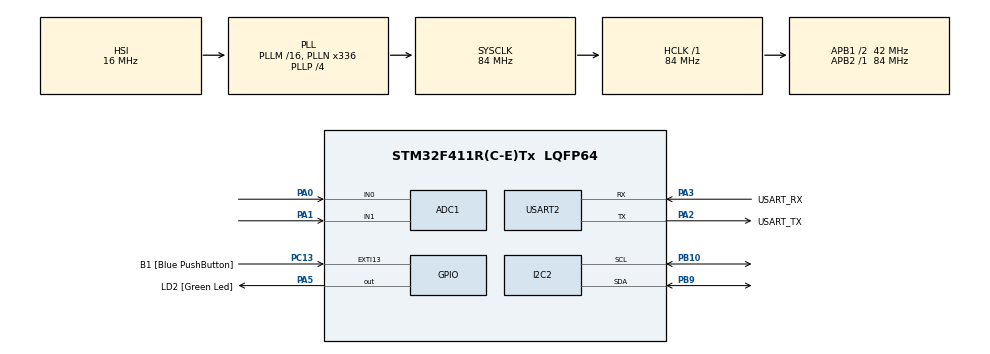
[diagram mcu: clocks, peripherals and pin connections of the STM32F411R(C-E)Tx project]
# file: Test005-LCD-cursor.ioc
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ADC1.Channel-0\#ChannelRegularConversion=ADC_CHANNEL_0
ADC1.Channel-1\#ChannelRegularConversion=ADC_CHANNEL_1
ADC1.ContinuousConvMode=DISABLE
ADC1.DMAContinuousRequests=ENABLE
ADC1.DiscontinuousConvMode=ENABLE
ADC1.EOCSelection=ADC_EOC_SINGLE_CONV
ADC1.ExternalTrigConv=ADC_EXTERNALTRIGCONV_T3_TRGO
ADC1.NbrOfConversion=2
ADC1.NbrOfConversionFlag=1
ADC1.Rank-0\#ChannelRegularConversion=1
ADC1.Rank-1\#ChannelRegularConversion=2
ADC1.SamplingTime-0\#ChannelRegularConversion=ADC_SAMPLETIME_3CYCLES
ADC1.SamplingTime-1\#ChannelRegularConversion=ADC_SAMPLETIME_3CYCLES
ADC1.ScanConvMode=ENABLE
ADC1.master=1
Dma.ADC1.0.Direction=DMA_PERIPH_TO_MEMORY
Dma.ADC1.0.FIFOMode=DMA_FIFOMODE_DISABLE
Dma.ADC1.0.Instance=DMA2_Stream0
Dma.ADC1.0.MemDataAlignment=DMA_MDATAALIGN_WORD
Dma.ADC1.0.MemInc=DMA_MINC_ENABLE
Dma.ADC1.0.Mode=DMA_CIRCULAR
Dma.ADC1.0.PeriphDataAlignment=DMA_PDATAALIGN_WORD
Dma.ADC1.0.PeriphInc=DMA_PINC_DISABLE
Dma.ADC1.0.Priority=DMA_PRIORITY_LOW
Dma.Request0=ADC1
Mcu.Family=STM32F4
Mcu.Name=STM32F411R(C-E)Tx
Mcu.Package=LQFP64
NVIC.DMA2_Stream0_IRQn=true\:0\:0\:false\:false\:true\:false\:true\:true
NVIC.PriorityGroup=NVIC_PRIORITYGROUP_0
PA0-WKUP.Signal=ADCx_IN0
PA1.Signal=ADCx_IN1
PA13.GPIO_Label=TMS
PA13.Mode=Serial_Wire
PA13.Signal=SYS_JTMS-SWDIO
PA14.GPIO_Label=TCK
PA14.Mode=Serial_Wire
PA14.Signal=SYS_JTCK-SWCLK
PA2.GPIO_Label=USART_TX
PA2.Mode=Asynchronous
PA2.Signal=USART2_TX
PA3.GPIO_Label=USART_RX
PA3.Mode=Asynchronous
PA3.Signal=USART2_RX
PA5.GPIO_Label=LD2 [Green Led]
PA5.Signal=GPIO_Output
PB10.Mode=I2C
PB10.Signal=I2C2_SCL
PB3.GPIO_Label=SWO
PB3.Signal=SYS_JTDO-SWO
PB9.Mode=I2C
PB9.Signal=I2C2_SDA
PC13-ANTI_TAMP.GPIO_Label=B1 [Blue PushButton]
PC13-ANTI_TAMP.GPIO_ModeDefaultEXTI=GPIO_MODE_IT_FALLING
PC13-ANTI_TAMP.Signal=GPXTI13
PC14-OSC32_IN.Mode=LSE-External-Oscillator
PC14-OSC32_IN.Signal=RCC_OSC32_IN
PC15-OSC32_OUT.Mode=LSE-External-Oscillator
PC15-OSC32_OUT.Signal=RCC_OSC32_OUT
PH0\ -\ OSC_IN.Mode=HSE-External-Clock-Source
PH0\ -\ OSC_IN.Signal=RCC_OSC_IN
PH1\ -\ OSC_OUT.Mode=HSE-External-Clock-Source
PH1\ -\ OSC_OUT.Signal=RCC_OSC_OUT
ProjectManager.HeapSize=0x200
ProjectManager.StackSize=0x400
ProjectManager.TargetToolchain=STM32CubeIDE
RCC.48MHZClocksFreq_Value=84000000
RCC.AHBFreq_Value=84000000
RCC.APB1CLKDivider=RCC_HCLK_DIV2
RCC.APB1Freq_Value=42000000
RCC.APB1TimFreq_Value=84000000
RCC.APB2Freq_Value=84000000
RCC.APB2TimFreq_Value=84000000
RCC.CortexFreq_Value=84000000
RCC.FLatency-AdvancedSettings=FLASH_LATENCY_2
RCC.HCLKFreq_Value=84000000
RCC.HSE_VALUE=8000000
RCC.HSI_VALUE=16000000
RCC.PLLN=336
RCC.PLLP=RCC_PLLP_DIV4
RCC.SYSCLKFreq_VALUE=84000000
RCC.SYSCLKSource=RCC_SYSCLKSOURCE_PLLCLK
RCC.VCOOutputFreq_Value=336000000
SH.ADCx_IN0.0=ADC1_IN0,IN0
SH.ADCx_IN1.0=ADC1_IN1,IN1
TIM3.Period=1000-1
TIM3.Prescaler=8400-1
TIM3.TIM_MasterOutputTrigger=TIM_TRGO_UPDATE
USART2.VirtualMode=VM_ASYNC
VP_TIM3_VS_ClockSourceINT.Mode=Internal
board=NUCLEO-F411RE

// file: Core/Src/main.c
/* USER CODE BEGIN Header */
/**
  ******************************************************************************
  * @file           : main.c
  * @brief          : Main program body
  ******************************************************************************
  * @attention
  *
  * Copyright (c) 2024 STMicroelectronics.
  * All rights reserved.
  *
  * This software is licensed under terms that can be found in the LICENSE file
  * in the root directory of this software component.
  * If no LICENSE file comes with this software, it is provided AS-IS.
  *
  ******************************************************************************
  */
/* USER CODE END Header */
#include "main.h"

ADC_HandleTypeDef hadc1;
DMA_HandleTypeDef hdma_adc1;

I2C_HandleTypeDef hi2c2;

TIM_HandleTypeDef htim3;

UART_HandleTypeDef huart2;

void SystemClock_Config(void);
static void MX_GPIO_Init(void);
static void MX_DMA_Init(void);
static void MX_USART2_UART_Init(void);
static void MX_I2C2_Init(void);
static void MX_ADC1_Init(void);
static void MX_TIM3_Init(void);

/* USER CODE BEGIN 0 */
int val[2]; // val[0]:x val[1]:y
volatile char* arr1;
volatile char* arr2;
/* USER CODE END 0 */

int main(void)
{

  /* MCU Configuration--------------------------------------------------------*/

  /* Reset of all peripherals, Initializes the Flash interface and the Systick. */
  HAL_Init();

  /* Configure the system clock */
  SystemClock_Config();

  /* Initialize all configured peripherals */
  MX_GPIO_Init();
  MX_DMA_Init();
  MX_USART2_UART_Init();
  MX_I2C2_Init();
  MX_ADC1_Init();
  MX_TIM3_Init();
  /* USER CODE BEGIN 2 */
  ProgramStart("LCD (1602)-cursor");
  I2C_scan();
  lcd_init();
  HAL_ADC_Start_DMA(&hadc1,val, 2);
  HAL_TIM_Base_Start(&htim3);
  char buffer1[5];
  char buffer2[5];

  /* USER CODE END 2 */

  /* Infinite loop */
  /* USER CODE BEGIN WHILE */
  while (1)
  {

      num2char4(val[0], buffer1);
      HAL_Delay(10);

      num2char4(val[1], buffer2);
      HAL_Delay(10);

      lcd_printEx(buffer1, 0);
      HAL_Delay(30);
      lcd_printEx(buffer2, 1);
      HAL_Delay(30);

      printf("ADC1: %s, ADC2: %s\r\n", buffer1, buffer2);
    /* USER CODE END WHILE */

  }
}

void SystemClock_Config(void)
{
  RCC_OscInitTypeDef RCC_OscInitStruct = {0};
  RCC_ClkInitTypeDef RCC_ClkInitStruct = {0};

  /** Configure the main internal regulator output voltage
  */
  __HAL_RCC_PWR_CLK_ENABLE();
  __HAL_PWR_VOLTAGESCALING_CONFIG(PWR_REGULATOR_VOLTAGE_SCALE1);

  /** Initializes the RCC Oscillators according to the specified parameters
  * in the RCC_OscInitTypeDef structure.
  */
  RCC_OscInitStruct.OscillatorType = RCC_OSCILLATORTYPE_HSI;
  RCC_OscInitStruct.HSIState = RCC_HSI_ON;
  RCC_OscInitStruct.HSICalibrationValue = RCC_HSICALIBRATION_DEFAULT;
  RCC_OscInitStruct.PLL.PLLState = RCC_PLL_ON;
  RCC_OscInitStruct.PLL.PLLSource = RCC_PLLSOURCE_HSI;
  RCC_OscInitStruct.PLL.PLLM = 16;
  RCC_OscInitStruct.PLL.PLLN = 336;
  RCC_OscInitStruct.PLL.PLLP = RCC_PLLP_DIV4;
  RCC_OscInitStruct.PLL.PLLQ = 4;
  if (HAL_RCC_OscConfig(&RCC_OscInitStruct) != HAL_OK)
  {
    Error_Handler();
  }

  /** Initializes the CPU, AHB and APB buses clocks
  */
  RCC_ClkInitStruct.ClockType = RCC_CLOCKTYPE_HCLK|RCC_CLOCKTYPE_SYSCLK
                              |RCC_CLOCKTYPE_PCLK1|RCC_CLOCKTYPE_PCLK2;
  RCC_ClkInitStruct.SYSCLKSource = RCC_SYSCLKSOURCE_PLLCLK;
  RCC_ClkInitStruct.AHBCLKDivider = RCC_SYSCLK_DIV1;
  RCC_ClkInitStruct.APB1CLKDivider = RCC_HCLK_DIV2;
  RCC_ClkInitStruct.APB2CLKDivider = RCC_HCLK_DIV1;

  if (HAL_RCC_ClockConfig(&RCC_ClkInitStruct, FLASH_LATENCY_2) != HAL_OK)
  {
    Error_Handler();
  }
}

static void MX_ADC1_Init(void)
{

  ADC_ChannelConfTypeDef sConfig = {0};

  /** Configure the global features of the ADC (Clock, Resolution, Data Alignment and number of conversion)
  */
  hadc1.Instance = ADC1;
  hadc1.Init.ClockPrescaler = ADC_CLOCK_SYNC_PCLK_DIV4;
  hadc1.Init.Resolution = ADC_RESOLUTION_12B;
  hadc1.Init.ScanConvMode = ENABLE;
  hadc1.Init.ContinuousConvMode = DISABLE;
  hadc1.Init.DiscontinuousConvMode = ENABLE;
  hadc1.Init.NbrOfDiscConversion = 1;
  hadc1.Init.ExternalTrigConvEdge = ADC_EXTERNALTRIGCONVEDGE_RISING;
  hadc1.Init.ExternalTrigConv = ADC_EXTERNALTRIGCONV_T3_TRGO;
  hadc1.Init.DataAlign = ADC_DATAALIGN_RIGHT;
  hadc1.Init.NbrOfConversion = 2;
  hadc1.Init.DMAContinuousRequests = ENABLE;
  hadc1.Init.EOCSelection = ADC_EOC_SINGLE_CONV;
  if (HAL_ADC_Init(&hadc1) != HAL_OK)
  {
    Error_Handler();
  }

  /** Configure for the selected ADC regular channel its corresponding rank in the sequencer and its sample time.
  */
  sConfig.Channel = ADC_CHANNEL_0;
  sConfig.Rank = 1;
  sConfig.SamplingTime = ADC_SAMPLETIME_3CYCLES;
  if (HAL_ADC_ConfigChannel(&hadc1, &sConfig) != HAL_OK)
  {
    Error_Handler();
  }

  /** Configure for the selected ADC regular channel its corresponding rank in the sequencer and its sample time.
  */
  sConfig.Channel = ADC_CHANNEL_1;
  sConfig.Rank = 2;
  if (HAL_ADC_ConfigChannel(&hadc1, &sConfig) != HAL_OK)
  {
    Error_Handler();
  }

}

static void MX_I2C2_Init(void)
{

  hi2c2.Instance = I2C2;
  hi2c2.Init.ClockSpeed = 100000;
  hi2c2.Init.DutyCycle = I2C_DUTYCYCLE_2;
  hi2c2.Init.OwnAddress1 = 0;
  hi2c2.Init.AddressingMode = I2C_ADDRESSINGMODE_7BIT;
  hi2c2.Init.DualAddressMode = I2C_DUALADDRESS_DISABLE;
  hi2c2.Init.OwnAddress2 = 0;
  hi2c2.Init.GeneralCallMode = I2C_GENERALCALL_DISABLE;
  hi2c2.Init.NoStretchMode = I2C_NOSTRETCH_DISABLE;
  if (HAL_I2C_Init(&hi2c2) != HAL_OK)
  {
    Error_Handler();
  }

}

static void MX_TIM3_Init(void)
{

  TIM_ClockConfigTypeDef sClockSourceConfig = {0};
  TIM_MasterConfigTypeDef sMasterConfig = {0};

  htim3.Instance = TIM3;
  htim3.Init.Prescaler = 8400-1;
  htim3.Init.CounterMode = TIM_COUNTERMODE_UP;
  htim3.Init.Period = 1000-1;
  htim3.Init.ClockDivision = TIM_CLOCKDIVISION_DIV1;
  htim3.Init.AutoReloadPreload = TIM_AUTORELOAD_PRELOAD_DISABLE;
  if (HAL_TIM_Base_Init(&htim3) != HAL_OK)
  {
    Error_Handler();
  }
  sClockSourceConfig.ClockSource = TIM_CLOCKSOURCE_INTERNAL;
  if (HAL_TIM_ConfigClockSource(&htim3, &sClockSourceConfig) != HAL_OK)
  {
    Error_Handler();
  }
  sMasterConfig.MasterOutputTrigger = TIM_TRGO_UPDATE;
  sMasterConfig.MasterSlaveMode = TIM_MASTERSLAVEMODE_DISABLE;
  if (HAL_TIMEx_MasterConfigSynchronization(&htim3, &sMasterConfig) != HAL_OK)
  {
    Error_Handler();
  }

}

static void MX_USART2_UART_Init(void)
{

  huart2.Instance = USART2;
  huart2.Init.BaudRate = 115200;
  huart2.Init.WordLength = UART_WORDLENGTH_8B;
  huart2.Init.StopBits = UART_STOPBITS_1;
  huart2.Init.Parity = UART_PARITY_NONE;
  huart2.Init.Mode = UART_MODE_TX_RX;
  huart2.Init.HwFlowCtl = UART_HWCONTROL_NONE;
  huart2.Init.OverSampling = UART_OVERSAMPLING_16;
  if (HAL_UART_Init(&huart2) != HAL_OK)
  {
    Error_Handler();
  }

}

static void MX_DMA_Init(void)
{

  /* DMA controller clock enable */
  __HAL_RCC_DMA2_CLK_ENABLE();

  /* DMA interrupt init */
  /* DMA2_Stream0_IRQn interrupt configuration */
  HAL_NVIC_SetPriority(DMA2_Stream0_IRQn, 0, 0);
  HAL_NVIC_EnableIRQ(DMA2_Stream0_IRQn);

}

static void MX_GPIO_Init(void)
{
  GPIO_InitTypeDef GPIO_InitStruct = {0};

  /* GPIO Ports Clock Enable */
  __HAL_RCC_GPIOC_CLK_ENABLE();
  __HAL_RCC_GPIOH_CLK_ENABLE();
  __HAL_RCC_GPIOA_CLK_ENABLE();
  __HAL_RCC_GPIOB_CLK_ENABLE();

  /*Configure GPIO pin Output Level */
  HAL_GPIO_WritePin(LD2_GPIO_Port, LD2_Pin, GPIO_PIN_RESET);

  /*Configure GPIO pin : B1_Pin */
  GPIO_InitStruct.Pin = B1_Pin;
  GPIO_InitStruct.Mode = GPIO_MODE_IT_FALLING;
  GPIO_InitStruct.Pull = GPIO_NOPULL;
  HAL_GPIO_Init(B1_GPIO_Port, &GPIO_InitStruct);

  /*Configure GPIO pin : LD2_Pin */
  GPIO_InitStruct.Pin = LD2_Pin;
  GPIO_InitStruct.Mode = GPIO_MODE_OUTPUT_PP;
  GPIO_InitStruct.Pull = GPIO_NOPULL;
  GPIO_InitStruct.Speed = GPIO_SPEED_FREQ_LOW;
  HAL_GPIO_Init(LD2_GPIO_Port, &GPIO_InitStruct);

}

void Error_Handler(void)
{
  __disable_irq();
  while (1)
  {
  }
}
